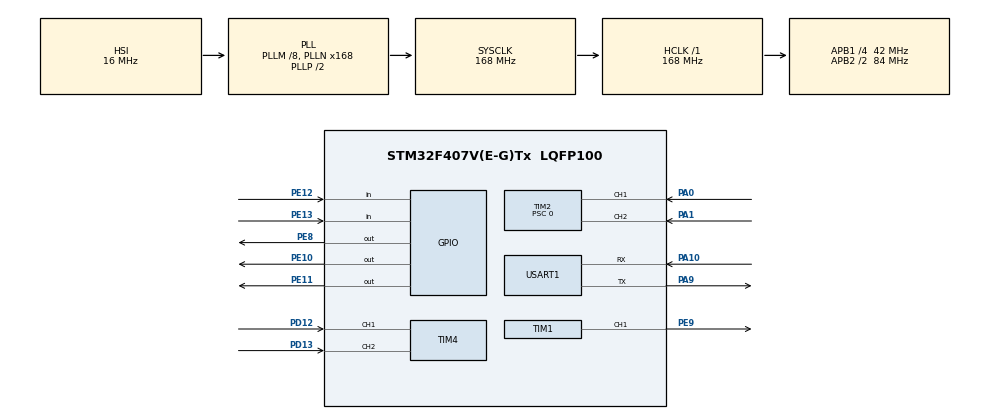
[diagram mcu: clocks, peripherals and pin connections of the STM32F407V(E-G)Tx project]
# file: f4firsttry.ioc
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Mcu.Family=STM32F4
Mcu.Name=STM32F407V(E-G)Tx
Mcu.Package=LQFP100
NVIC.PriorityGroup=NVIC_PRIORITYGROUP_4
NVIC.TIM3_IRQn=true\:0\:0\:false\:false\:true\:true\:true\:true
PA0-WKUP.GPIO_PuPd=GPIO_PULLUP
PA0-WKUP.GPIO_Speed=GPIO_SPEED_FREQ_MEDIUM
PA0-WKUP.Signal=S_TIM2_CH1_ETR
PA1.GPIO_PuPd=GPIO_PULLUP
PA1.GPIO_Speed=GPIO_SPEED_FREQ_MEDIUM
PA1.Signal=S_TIM2_CH2
PA10.Mode=Asynchronous
PA10.Signal=USART1_RX
PA13.Mode=JTAG_4_pins
PA13.Signal=SYS_JTMS-SWDIO
PA14.Mode=JTAG_4_pins
PA14.Signal=SYS_JTCK-SWCLK
PA15.Mode=JTAG_4_pins
PA15.Signal=SYS_JTDI
PA9.Mode=Asynchronous
PA9.Signal=USART1_TX
PB3.Mode=JTAG_4_pins
PB3.Signal=SYS_JTDO-SWO
PD12.GPIO_PuPd=GPIO_NOPULL
PD12.GPIO_Speed=GPIO_SPEED_FREQ_MEDIUM
PD12.Signal=S_TIM4_CH1
PD13.GPIO_PuPd=GPIO_PULLDOWN
PD13.GPIO_Speed=GPIO_SPEED_FREQ_MEDIUM
PD13.Signal=S_TIM4_CH2
PE10.PinState=GPIO_PIN_SET
PE10.Signal=GPIO_Output
PE11.PinState=GPIO_PIN_SET
PE11.Signal=GPIO_Output
PE12.GPIO_PuPd=GPIO_NOPULL
PE12.Signal=GPIO_Input
PE13.GPIO_PuPd=GPIO_PULLDOWN
PE13.Signal=GPIO_Input
PE8.GPIO_PuPd=GPIO_NOPULL
PE8.Signal=GPIO_Output
PE9.Signal=S_TIM1_CH1
PH0-OSC_IN.Mode=HSE-External-Oscillator
PH0-OSC_IN.Signal=RCC_OSC_IN
PH1-OSC_OUT.Mode=HSE-External-Oscillator
PH1-OSC_OUT.Signal=RCC_OSC_OUT
ProjectManager.HeapSize=0x200
ProjectManager.StackSize=0x400
ProjectManager.TargetToolchain=MDK-ARM V5.32
RCC.48MHZClocksFreq_Value=84000000
RCC.AHBFreq_Value=168000000
RCC.APB1CLKDivider=RCC_HCLK_DIV4
RCC.APB1Freq_Value=42000000
RCC.APB1TimFreq_Value=84000000
RCC.APB2CLKDivider=RCC_HCLK_DIV2
RCC.APB2Freq_Value=84000000
RCC.APB2TimFreq_Value=168000000
RCC.CortexFreq_Value=168000000
RCC.HCLKFreq_Value=168000000
RCC.HSE_VALUE=25000000
RCC.HSI_VALUE=16000000
RCC.LSE_VALUE=32768
RCC.PLLM=8
RCC.PLLN=168
RCC.SYSCLKFreq_VALUE=168000000
RCC.SYSCLKSource=RCC_SYSCLKSOURCE_PLLCLK
RCC.VCOOutputFreq_Value=336000000
SH.S_TIM1_CH1.0=TIM1_CH1,PWM Generation1 CH1
SH.S_TIM2_CH1_ETR.0=TIM2_CH1,Encoder_Interface
SH.S_TIM2_CH2.0=TIM2_CH2,Encoder_Interface
SH.S_TIM4_CH1.0=TIM4_CH1,Encoder_Interface
SH.S_TIM4_CH2.0=TIM4_CH2,Encoder_Interface
TIM1.AutoReloadPreload=TIM_AUTORELOAD_PRELOAD_ENABLE
TIM1.Channel-PWM\ Generation1\ CH1=TIM_CHANNEL_1
TIM1.Period=1000
TIM1.Prescaler=167
TIM2.AutoReloadPreload=TIM_AUTORELOAD_PRELOAD_DISABLE
TIM2.EncoderMode=TIM_ENCODERMODE_TI12
TIM2.IC1Filter=10
TIM2.IC2Filter=0
TIM2.IC2Polarity=TIM_ICPOLARITY_RISING
TIM2.Period=4294967295
TIM2.Prescaler=0
TIM2.TIM_MasterOutputTrigger=TIM_TRGO_UPDATE
TIM3.AutoReloadPreload=TIM_AUTORELOAD_PRELOAD_ENABLE
TIM3.Period=10000
TIM3.Prescaler=167
TIM4.AutoReloadPreload=TIM_AUTORELOAD_PRELOAD_ENABLE
TIM4.EncoderMode=TIM_ENCODERMODE_TI12
TIM4.IC2Polarity=TIM_ICPOLARITY_FALLING
TIM4.TIM_MasterOutputTrigger=TIM_TRGO_UPDATE
USART1.VirtualMode=VM_ASYNC
VP_TIM1_VS_ClockSourceINT.Mode=Internal
VP_TIM3_VS_ClockSourceINT.Mode=Internal
board=custom

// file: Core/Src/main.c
/* USER CODE BEGIN Header */
/**
  ******************************************************************************
  * @file           : main.c
  * @brief          : Main program body
  ******************************************************************************
  * @attention
  *
  * Copyright (c) 2026 STMicroelectronics.
  * All rights reserved.
  *
  * This software is licensed under terms that can be found in the LICENSE file
  * in the root directory of this software component.
  * If no LICENSE file comes with this software, it is provided AS-IS.
  *
  ******************************************************************************
  */
/* USER CODE END Header */
#include "main.h"
#include "tim.h"
#include "usart.h"
#include "gpio.h"

/* USER CODE BEGIN Includes */
#include <stdio.h>
#include <string.h>
/* USER CODE END Includes */

/* USER CODE BEGIN PTD */
// 编码器数据结构
typedef struct {
    uint16_t current_count;
    uint16_t last_count;
    int32_t pulse_diff;      // 可能为负数，所以用int32_t
    float speed_rpm;
    uint32_t last_calc_time;
} EncoderData;

EncoderData motor_encoder;

// 串口发送缓冲区
char tx_buffer[64];
uint16_t a;

// 电机参数
#define ENCODER_LINES    13      // 编码器线数
#define GEAR_RATIO       30      // 减速比
#define PULSE_PER_REV    (ENCODER_LINES * 4 * GEAR_RATIO)  // 每转脉冲数 = 13×4×30 = 1560

// 调试用
volatile uint8_t debug_flag = 0;
/* USER CODE END PTD */

void SystemClock_Config(void);
/* USER CODE BEGIN PFP */
void Calculate_Motor_Speed(void);
void Send_Encoder_Data(void);
/* USER CODE END PFP */

/* USER CODE BEGIN 0 */
void Send_Encoder_Data(void)
{
    int len = sprintf(tx_buffer, "%d",a);//sprintf的返回值是int类型，返回字节数

    // ✅ 使用非阻塞发送，或设置合理的超时
    HAL_UART_Transmit(&huart1, (uint8_t*)tx_buffer, len, 100);
}

/* USER CODE END 0 */

int main(void)
{

  /* MCU Configuration--------------------------------------------------------*/

  /* Reset of all peripherals, Initializes the Flash interface and the Systick. */
  HAL_Init();

  /* Configure the system clock */
  SystemClock_Config();

  /* Initialize all configured peripherals */
  MX_GPIO_Init();
  MX_USART1_UART_Init();
  MX_TIM1_Init();
  MX_TIM3_Init();
  MX_TIM2_Init();
  MX_TIM4_Init();
  /* USER CODE BEGIN 2 */
  HAL_TIM_Encoder_Start(&htim2, TIM_CHANNEL_1);
   HAL_TIM_Encoder_Start(&htim4, TIM_CHANNEL_1);
  // ✅ 正确的定时器中断启动
  HAL_TIM_Base_Start(&htim3);

  // 电机控制初始化
  HAL_TIM_Base_Start(&htim1);  // PWM定时器

  HAL_TIM_PWM_Start(&htim1, TIM_CHANNEL_1);

  // 电机使能和方向控制
  HAL_GPIO_WritePin(GPIOE, GPIO_PIN_8, GPIO_PIN_SET);      // 使能
  HAL_GPIO_WritePin(GPIOE, GPIO_PIN_10, GPIO_PIN_SET);     // 方向1
  HAL_GPIO_WritePin(GPIOE, GPIO_PIN_11, GPIO_PIN_RESET);   // 方向2

  __HAL_TIM_SET_COMPARE(&htim1, TIM_CHANNEL_1, 500);       // PWM占空比

  // 初始化编码器数据
  motor_encoder.current_count = __HAL_TIM_GET_COUNTER(&htim2);
  motor_encoder.last_count = motor_encoder.current_count;
  motor_encoder.speed_rpm = 0;
  motor_encoder.last_calc_time = HAL_GetTick();

  /* USER CODE END 2 */

  /* Infinite loop */
  /* USER CODE BEGIN WHILE */
	uint16_t c;
  while (1)
  {
		uint16_t a = TIM4->CNT;
		motor_encoder.current_count = __HAL_TIM_GET_COUNTER(&htim4);
		Send_Encoder_Data();
		HAL_Delay(100);
    /* USER CODE END WHILE */

  }
}

void SystemClock_Config(void)
{
  RCC_OscInitTypeDef RCC_OscInitStruct = {0};
  RCC_ClkInitTypeDef RCC_ClkInitStruct = {0};

  /** Configure the main internal regulator output voltage
  */
  __HAL_RCC_PWR_CLK_ENABLE();
  __HAL_PWR_VOLTAGESCALING_CONFIG(PWR_REGULATOR_VOLTAGE_SCALE1);

  /** Initializes the RCC Oscillators according to the specified parameters
  * in the RCC_OscInitTypeDef structure.
  */
  RCC_OscInitStruct.OscillatorType = RCC_OSCILLATORTYPE_HSI;
  RCC_OscInitStruct.HSIState = RCC_HSI_ON;
  RCC_OscInitStruct.HSICalibrationValue = RCC_HSICALIBRATION_DEFAULT;
  RCC_OscInitStruct.PLL.PLLState = RCC_PLL_ON;
  RCC_OscInitStruct.PLL.PLLSource = RCC_PLLSOURCE_HSI;
  RCC_OscInitStruct.PLL.PLLM = 8;
  RCC_OscInitStruct.PLL.PLLN = 168;
  RCC_OscInitStruct.PLL.PLLP = RCC_PLLP_DIV2;
  RCC_OscInitStruct.PLL.PLLQ = 4;
  if (HAL_RCC_OscConfig(&RCC_OscInitStruct) != HAL_OK)
  {
    Error_Handler();
  }

  /** Initializes the CPU, AHB and APB buses clocks
  */
  RCC_ClkInitStruct.ClockType = RCC_CLOCKTYPE_HCLK|RCC_CLOCKTYPE_SYSCLK
                              |RCC_CLOCKTYPE_PCLK1|RCC_CLOCKTYPE_PCLK2;
  RCC_ClkInitStruct.SYSCLKSource = RCC_SYSCLKSOURCE_PLLCLK;
  RCC_ClkInitStruct.AHBCLKDivider = RCC_SYSCLK_DIV1;
  RCC_ClkInitStruct.APB1CLKDivider = RCC_HCLK_DIV4;
  RCC_ClkInitStruct.APB2CLKDivider = RCC_HCLK_DIV2;

  if (HAL_RCC_ClockConfig(&RCC_ClkInitStruct, FLASH_LATENCY_5) != HAL_OK)
  {
    Error_Handler();
  }
}

/* USER CODE BEGIN 4 */
void HAL_TIM_PeriodElapsedCallback(TIM_HandleTypeDef *htim)
{
    if (htim->Instance == TIM3)  // TIM3定时中断
    {

		}
}
/* USER CODE END 4 */

void Error_Handler(void)
{
  __disable_irq();
  while (1)
  {
  }
}
